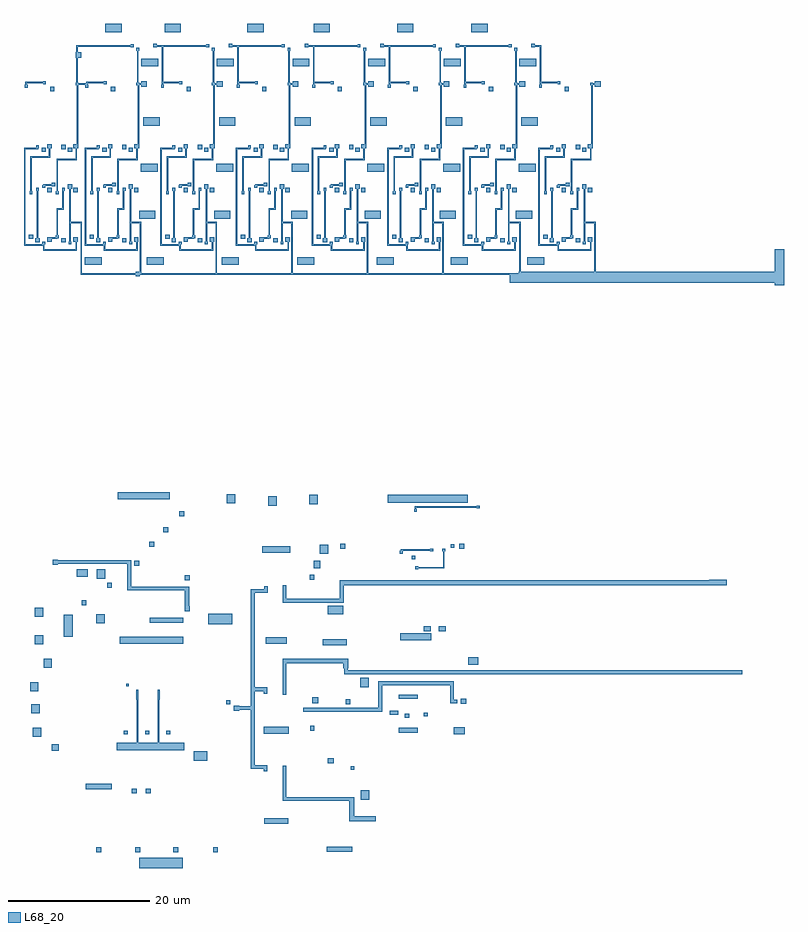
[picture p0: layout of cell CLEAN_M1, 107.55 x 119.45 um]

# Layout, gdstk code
import gdstk
lib = gdstk.Library(unit=1e-6, precision=1e-09)
def R(c, l, rs):  # rectangles x0, y0, x1, y1
    for r in rs: c.add(gdstk.rectangle(r[:2], r[2:], *l))
def A(c, l, x, y, w, h, nx, ny, dx, dy):  # array of equal rectangles
    R(c, l, [(x+i*dx, y+j*dy, x+i*dx+w, y+j*dy+h) for i in range(nx) for j in range(ny)])
def P(c, l, *ps):  # polygons
    for p in ps: c.add(gdstk.Polygon(p, *l))
L68_20 = (68, 20)

clean_m1 = lib.new_cell('CLEAN_M1')
A(clean_m1, L68_20, 48.4, 55.35, 0.55, 0.55, 3, 1, 3, 0)
A(clean_m1, L68_20, 48.15, 125, 0.6, 0.6, 7, 2, 10.7, 13.2)
A(clean_m1, L68_20, 43.55, 125.5, 0.6, 0.6, 7, 1, 10.7, 0)
A(clean_m1, L68_20, 50.75, 135, 2.4, 1.1, 6, 1, 10.7, 0)
A(clean_m1, L68_20, 51.15, 141.5, 2.3, 1.2, 6, 1, 10.7, 0)
A(clean_m1, L68_20, 46.55, 146.4, 0.6, 0.6, 7, 1, 10.7, 0)
A(clean_m1, L68_20, 50.85, 149.9, 2.4, 1.1, 6, 1, 10.7, 0)
R(clean_m1, L68_20, [(50.55,36.45,56.7,37.9), (44.5,38.7,45.2,39.4), (50,38.7,50.7,39.4), (55.4,38.7,56.1,39.4), (61,38.7,61.7,39.4), (77.1,38.75,80.7,39.45), (68.25,42.7,71.65,43.5), (81.9,46.15,83.1,47.45), (49.5,47,50.2,47.7), (51.5,47,52.2,47.7), (43,47.6,46.7,48.35), (80.5,50.35,81,50.85), (77.2,51.25,78.1,52), (58.25,51.65,60.2,52.95), (38.15,53.05,39.15,54), (35.5,55,36.7,56.3), (95.1,55.35,96.65,56.35), (68.2,55.45,71.7,56.45), (87.3,55.6,90,56.3), (74.75,55.9,75.3,56.6), (88.15,57.75,88.75,58.3), (90.85,57.9,91.4,58.45), (86,58.15,87.2,58.7), (35.25,58.35,36.45,59.65), (62.85,59.65,63.45,60.2), (79.75,59.65,80.45,60.35), (96.05,59.7,96.85,60.4), (75.05,59.8,75.9,60.65), (87.3,60.4,90,60.95), (35.1,61.45,36.3,62.75), (81.85,62.05,83.05,63.35), (48.7,62.15,49.1,62.55), (37.05,64.8,38.2,66.05), (97.1,65.2,98.5,66.3), (76.55,68,79.95,68.85), (35.8,68.1,37,69.4), (68.45,68.2,71.45,69.1), (87.51,68.7,91.86,69.65), (39.85,69.15,41.15,72.3), (90.8,69.95,91.8,70.65), (92.95,69.95,93.95,70.65), (60.35,70.95,63.75,72.45), (44.5,71.1,45.7,72.4), (52.06,71.15,56.76,71.9), (35.75,72,36.95,73.3), (77.2,72.35,79.4,73.6), (42.4,73.65,43.05,74.35), (46,76.15,46.7,76.85), (57,77.2,57.7,77.9), (74.7,77.25,75.3,77.95), (44.55,77.4,45.75,78.7), (41.7,77.7,43.25,78.7), (75.25,78.85,76.2,79.95), (49.85,79.25,50.55,79.95), (89.15,80.15,89.65,80.65), (76.1,80.9,77.3,82.2), (68,81.1,71.9,82), (79,81.65,79.7,82.35), (95.85,81.65,96.55,82.35), (94.65,81.75,95.15,82.25), (51.95,81.95,52.65,82.65), (53.95,83.95,54.65,84.65), (56.25,86.25,56.95,86.95), (68.8,87.75,70,89.05), (74.6,87.95,75.8,89.25), (62.95,88.05,64.15,89.35), (85.71,88.15,97.06,89.25), (47.51,88.65,54.91,89.6), (42.85,121.8,45.25,122.9), (51.65,121.8,54.05,122.9), (62.25,121.8,64.65,122.9), (72.95,121.8,75.35,122.9), (84.15,121.8,86.55,122.9), (94.65,121.8,97.05,122.9), (105.45,121.8,107.85,122.9), (39.55,125,40.15,125.6), (34.95,125.5,35.55,126.1), (50.55,128.3,52.85,129.5), (61.15,128.3,63.45,129.5), (72.05,128.3,74.35,129.5), (82.45,128.3,84.75,129.5), (93.05,128.3,95.35,129.5), (103.85,128.3,106.15,129.5), (37.55,132.1,38.15,132.7), (41.25,132.1,41.85,132.7), (46.15,132.1,46.75,132.7), (49.85,132.1,50.45,132.7), (56.85,132.1,57.45,132.7), (60.55,132.1,61.15,132.7), (67.55,132.1,68.15,132.7), (71.25,132.1,71.85,132.7), (78.25,132.1,78.85,132.7), (81.95,132.1,82.55,132.7), (88.95,132.1,89.55,132.7), (92.65,132.1,93.25,132.7), (99.65,132.1,100.25,132.7), (103.35,132.1,103.95,132.7), (110.35,132.1,110.95,132.7), (114.05,132.1,114.65,132.7), (36.75,137.8,37.35,138.4), (40.45,137.8,41.05,138.4), (45.35,137.8,45.95,138.4), (49.05,137.8,49.65,138.4), (56.05,137.8,56.65,138.4), (59.75,137.8,60.35,138.4), (66.75,137.8,67.35,138.4), (70.45,137.8,71.05,138.4), (77.45,137.8,78.05,138.4), (81.15,137.8,81.75,138.4), (88.15,137.8,88.75,138.4), (91.85,137.8,92.45,138.4), (98.85,137.8,99.45,138.4), (102.55,137.8,103.15,138.4), (109.55,137.8,110.15,138.4), (113.25,137.8,113.85,138.4), (39.55,138.2,40.15,138.8), (37.95,146.4,38.55,147), (45.75,154.7,48.05,155.9), (54.15,154.7,56.45,155.9), (65.85,154.7,68.15,155.9), (75.25,154.7,77.55,155.9), (87.05,154.7,89.35,155.9), (97.55,154.7,99.85,155.9)])
P(clean_m1, L68_20, [(73.75,58.55),(73.75,59.1),(84.35,59.1),(84.35,62.85),(95.1,62.85),(95.1,60.3),(95.55,60.3),(95.55,59.75),(94.6,59.75),(94.6,62.3),(84.95,62.3),(84.95,58.55)],
  [(70.85,60.95),(70.85,66.1),(80.15,66.1),(80.15,64.7),(80.1,64.7),(80.1,64.45),(135.9,64.45),(135.9,63.85),(79.55,63.85),(79.55,64.7),(79.45,64.7),(79.45,65.4),(71.35,65.4),(71.35,60.95)],
  [(70.85,74),(70.85,76.45),(71.35,76.45),(71.35,74.55),(78.9,74.55),(78.9,77.2),(131.25,77.2),(131.25,77.25),(133.7,77.25),(133.7,76.45),(79.5,76.45),(79.5,74)],
  [(87.45,80.95),(87.45,81.35),(87.55,81.35),(87.55,81.55),(91.75,81.55),(91.75,81.65),(92.15,81.65),(92.15,81.25),(91.75,81.25),(91.75,81.35),(87.85,81.35),(87.85,80.95)],
  [(140.5,118.95),(140.5,119.3),(103,119.3),(103,120.4),(50.65,120.4),(50.65,120.2),(50.05,120.2),(50.05,120.4),(42.25,120.4),(42.25,127.7),(40.85,127.7),(40.85,125.1),(40.95,125.1),(40.95,124.7),(40.55,124.7),(40.55,125.1),(40.65,125.1),(40.65,132.6),(40.45,132.6),(40.45,133.2),(41.05,133.2),(41.05,132.6),(40.85,132.6),(40.85,127.9),(42.45,127.9),(42.45,120.6),(50.05,120.6),(50.05,120.8),(50.65,120.8),(50.65,127.7),(49.45,127.7),(49.45,125.1),(49.55,125.1),(49.55,124.7),(49.15,124.7),(49.15,125.1),(49.25,125.1),(49.25,132.6),(49.05,132.6),(49.05,133.2),(49.65,133.2),(49.65,132.6),(49.45,132.6),(49.45,127.9),(50.85,127.9),(50.85,120.6),(61.35,120.6),(61.35,127.7),(60.15,127.7),(60.15,125.1),(60.25,125.1),(60.25,124.7),(59.85,124.7),(59.85,125.1),(59.95,125.1),(59.95,132.6),(59.75,132.6),(59.75,133.2),(60.35,133.2),(60.35,132.6),(60.15,132.6),(60.15,127.9),(61.55,127.9),(61.55,120.6),(72.05,120.6),(72.05,127.7),(70.85,127.7),(70.85,125.1),(70.95,125.1),(70.95,124.7),(70.55,124.7),(70.55,125.1),(70.65,125.1),(70.65,132.6),(70.45,132.6),(70.45,133.2),(71.05,133.2),(71.05,132.6),(70.85,132.6),(70.85,127.9),(72.25,127.9),(72.25,120.6),(82.75,120.6),(82.75,127.7),(81.55,127.7),(81.55,125.1),(81.65,125.1),(81.65,124.7),(81.25,124.7),(81.25,125.1),(81.35,125.1),(81.35,132.6),(81.15,132.6),(81.15,133.2),(81.75,133.2),(81.75,132.6),(81.55,132.6),(81.55,127.9),(82.95,127.9),(82.95,120.6),(93.45,120.6),(93.45,127.7),(92.25,127.7),(92.25,125.1),(92.35,125.1),(92.35,124.7),(91.95,124.7),(91.95,125.1),(92.05,125.1),(92.05,132.6),(91.85,132.6),(91.85,133.2),(92.45,133.2),(92.45,132.6),(92.25,132.6),(92.25,127.9),(93.65,127.9),(93.65,120.6),(103,120.6),(103,120.65),(104.25,120.65),(104.25,120.85),(104.35,120.85),(104.35,127.7),(102.95,127.7),(102.95,125.1),(103.05,125.1),(103.05,124.7),(102.65,124.7),(102.65,125.1),(102.75,125.1),(102.75,132.6),(102.55,132.6),(102.55,133.2),(103.15,133.2),(103.15,132.6),(102.95,132.6),(102.95,127.9),(104.55,127.9),(104.55,120.85),(114.95,120.85),(114.95,127.7),(113.65,127.7),(113.65,125.1),(113.75,125.1),(113.75,124.7),(113.35,124.7),(113.35,125.1),(113.45,125.1),(113.45,132.6),(113.25,132.6),(113.25,133.2),(113.85,133.2),(113.85,132.6),(113.65,132.6),(113.65,127.9),(115.15,127.9),(115.15,120.85),(140.5,120.85),(140.5,124),(141.8,124),(141.8,118.95)],
  [(88.35,123.8),(88.35,124.5),(85.65,124.5),(85.65,138.4),(87.35,138.4),(87.35,138.7),(87.75,138.7),(87.75,138.3),(87.65,138.3),(87.65,138.2),(85.85,138.2),(85.85,124.7),(88.25,124.7),(88.25,125.1),(88.65,125.1),(88.65,124.7),(88.55,124.7),(88.55,124),(92.95,124),(92.95,125.1),(92.65,125.1),(92.65,125.7),(93.25,125.7),(93.25,125.1),(93.15,125.1),(93.15,123.8)],
  [(86.45,131.8),(86.45,132.2),(86.55,132.2),(86.55,137.2),(89.15,137.2),(89.15,138.3),(88.95,138.3),(88.95,138.9),(89.55,138.9),(89.55,138.3),(89.35,138.3),(89.35,137),(86.75,137),(86.75,132.2),(86.85,132.2),(86.85,131.8)],
  [(85.75,146.9),(85.75,147.3),(85.85,147.3),(85.85,152.7),(85.15,152.7),(85.15,152.6),(84.65,152.6),(84.65,153.1),(85.15,153.1),(85.15,152.9),(92.15,152.9),(92.15,153),(92.55,153),(92.55,152.6),(92.15,152.6),(92.15,152.7),(86.05,152.7),(86.05,147.7),(88.35,147.7),(88.35,147.8),(88.75,147.8),(88.75,147.4),(88.35,147.4),(88.35,147.5),(86.05,147.5),(86.05,147.3),(86.15,147.3),(86.15,146.9)],
  [(88.95,125.1),(88.95,125.7),(90.15,125.7),(90.15,126),(90.25,126),(90.25,129.8),(91.05,129.8),(91.05,132.7),(91.45,132.7),(91.45,132.3),(91.25,132.3),(91.25,129.6),(90.45,129.6),(90.45,126),(90.55,126),(90.55,125.6),(90.35,125.6),(90.35,125.5),(89.55,125.5),(89.55,125.1)],
  [(97.95,125),(97.95,125.6),(98.15,125.6),(98.15,132.3),(98.05,132.3),(98.05,132.7),(98.45,132.7),(98.45,132.3),(98.35,132.3),(98.35,125.6),(98.55,125.6),(98.55,125)],
  [(99.65,125.1),(99.65,125.7),(100.85,125.7),(100.85,126),(100.95,126),(100.95,129.8),(101.75,129.8),(101.75,132.7),(102.15,132.7),(102.15,132.3),(101.95,132.3),(101.95,129.6),(101.15,129.6),(101.15,126),(101.25,126),(101.25,125.6),(101.05,125.6),(101.05,125.5),(100.25,125.5),(100.25,125.1)],
  [(108.65,125),(108.65,125.6),(108.85,125.6),(108.85,132.3),(108.75,132.3),(108.75,132.7),(109.15,132.7),(109.15,132.3),(109.05,132.3),(109.05,125.6),(109.25,125.6),(109.25,125)],
  [(110.35,125.1),(110.35,125.7),(111.55,125.7),(111.55,126),(111.65,126),(111.65,129.8),(112.45,129.8),(112.45,132.7),(112.85,132.7),(112.85,132.3),(112.65,132.3),(112.65,129.6),(111.85,129.6),(111.85,126),(111.95,126),(111.95,125.6),(111.75,125.6),(111.75,125.5),(110.95,125.5),(110.95,125.1)],
  [(88.25,132.7),(88.25,133.1),(88.35,133.1),(88.35,133.2),(89.55,133.2),(89.55,133.4),(90.05,133.4),(90.05,132.9),(89.55,132.9),(89.55,133),(88.65,133),(88.65,132.7)],
  [(98.95,132.7),(98.95,133.1),(99.05,133.1),(99.05,133.2),(100.25,133.2),(100.25,133.4),(100.75,133.4),(100.75,132.9),(100.25,132.9),(100.25,133),(99.35,133),(99.35,132.7)],
  [(109.65,132.7),(109.65,133.1),(109.75,133.1),(109.75,133.2),(110.95,133.2),(110.95,133.4),(111.45,133.4),(111.45,132.9),(110.95,132.9),(110.95,133),(110.05,133),(110.05,132.7)],
  [(99.05,123.8),(99.05,124.5),(96.35,124.5),(96.35,138.4),(98.05,138.4),(98.05,138.7),(98.45,138.7),(98.45,138.3),(98.35,138.3),(98.35,138.2),(96.55,138.2),(96.55,124.7),(98.95,124.7),(98.95,125.1),(99.35,125.1),(99.35,124.7),(99.25,124.7),(99.25,124),(103.65,124),(103.65,125.1),(103.35,125.1),(103.35,125.7),(103.95,125.7),(103.95,125.1),(103.85,125.1),(103.85,123.8)],
  [(109.75,123.8),(109.75,124.5),(107.05,124.5),(107.05,138.4),(108.75,138.4),(108.75,138.7),(109.15,138.7),(109.15,138.3),(109.05,138.3),(109.05,138.2),(107.25,138.2),(107.25,124.7),(109.65,124.7),(109.65,125.1),(110.05,125.1),(110.05,124.7),(109.95,124.7),(109.95,124),(114.35,124),(114.35,125.1),(114.05,125.1),(114.05,125.7),(114.65,125.7),(114.65,125.1),(114.55,125.1),(114.55,123.8)],
  [(97.15,131.8),(97.15,132.2),(97.25,132.2),(97.25,137.2),(99.85,137.2),(99.85,138.3),(99.65,138.3),(99.65,138.9),(100.25,138.9),(100.25,138.3),(100.05,138.3),(100.05,137),(97.45,137),(97.45,132.2),(97.55,132.2),(97.55,131.8)],
  [(107.85,131.8),(107.85,132.2),(107.95,132.2),(107.95,137.2),(110.55,137.2),(110.55,138.3),(110.35,138.3),(110.35,138.9),(110.95,138.9),(110.95,138.3),(110.75,138.3),(110.75,137),(108.15,137),(108.15,132.2),(108.25,132.2),(108.25,131.8)],
  [(111.55,131.8),(111.55,132.2),(111.65,132.2),(111.65,136.8),(114.35,136.8),(114.35,138.3),(114.05,138.3),(114.05,138.9),(114.55,138.9),(114.55,147.2),(114.35,147.2),(114.35,147.6),(114.75,147.6),(114.75,147.5),(115.05,147.5),(115.05,147.8),(115.85,147.8),(115.85,147),(115.05,147),(115.05,147.3),(114.75,147.3),(114.75,138.3),(114.55,138.3),(114.55,136.6),(111.85,136.6),(111.85,132.2),(111.95,132.2),(111.95,131.8)],
  [(90.15,131.8),(90.15,132.2),(90.25,132.2),(90.25,136.8),(92.95,136.8),(92.95,138.3),(92.65,138.3),(92.65,138.9),(93.15,138.9),(93.15,147.2),(92.95,147.2),(92.95,147.6),(93.05,147.6),(93.05,152.1),(92.95,152.1),(92.95,152.5),(93.35,152.5),(93.35,152.1),(93.25,152.1),(93.25,147.6),(93.35,147.6),(93.35,147.5),(93.65,147.5),(93.65,147.8),(94.45,147.8),(94.45,147),(93.65,147),(93.65,147.3),(93.35,147.3),(93.35,138.3),(93.15,138.3),(93.15,136.6),(90.45,136.6),(90.45,132.2),(90.55,132.2),(90.55,131.8)],
  [(100.85,131.8),(100.85,132.2),(100.95,132.2),(100.95,136.8),(103.65,136.8),(103.65,138.3),(103.35,138.3),(103.35,138.9),(103.85,138.9),(103.85,147.2),(103.65,147.2),(103.65,147.6),(103.75,147.6),(103.75,152.1),(103.65,152.1),(103.65,152.5),(104.05,152.5),(104.05,152.1),(103.95,152.1),(103.95,147.6),(104.05,147.6),(104.05,147.5),(104.35,147.5),(104.35,147.8),(105.15,147.8),(105.15,147),(104.35,147),(104.35,147.3),(104.05,147.3),(104.05,138.3),(103.85,138.3),(103.85,136.6),(101.15,136.6),(101.15,132.2),(101.25,132.2),(101.25,131.8)],
  [(96.45,146.9),(96.45,147.3),(96.55,147.3),(96.55,152.7),(95.85,152.7),(95.85,152.6),(95.35,152.6),(95.35,153.1),(95.85,153.1),(95.85,152.9),(102.85,152.9),(102.85,153),(103.25,153),(103.25,152.6),(102.85,152.6),(102.85,152.7),(96.75,152.7),(96.75,147.7),(99.05,147.7),(99.05,147.8),(99.45,147.8),(99.45,147.4),(99.05,147.4),(99.05,147.5),(96.75,147.5),(96.75,147.3),(96.85,147.3),(96.85,146.9)],
  [(107.15,146.9),(107.15,147.3),(107.25,147.3),(107.25,152.7),(106.55,152.7),(106.55,152.6),(106.05,152.6),(106.05,153.1),(106.55,153.1),(106.55,152.9),(107.45,152.9),(107.45,147.7),(109.75,147.7),(109.75,147.8),(110.15,147.8),(110.15,147.4),(109.75,147.4),(109.75,147.5),(107.45,147.5),(107.45,147.3),(107.55,147.3),(107.55,146.9)],
  [(35.85,125),(35.85,125.6),(36.05,125.6),(36.05,132.3),(35.95,132.3),(35.95,132.7),(36.35,132.7),(36.35,132.3),(36.25,132.3),(36.25,125.6),(36.45,125.6),(36.45,125)],
  [(37.55,125.1),(37.55,125.7),(38.75,125.7),(38.75,126),(38.85,126),(38.85,129.8),(39.65,129.8),(39.65,132.7),(40.05,132.7),(40.05,132.3),(39.85,132.3),(39.85,129.6),(39.05,129.6),(39.05,126),(39.15,126),(39.15,125.6),(38.95,125.6),(38.95,125.5),(38.15,125.5),(38.15,125.1)],
  [(36.95,123.8),(36.95,124.5),(34.25,124.5),(34.25,138.4),(35.95,138.4),(35.95,138.7),(36.35,138.7),(36.35,138.3),(36.25,138.3),(36.25,138.2),(34.45,138.2),(34.45,124.7),(36.85,124.7),(36.85,125.1),(37.25,125.1),(37.25,124.7),(37.15,124.7),(37.15,124),(41.55,124),(41.55,125.1),(41.25,125.1),(41.25,125.7),(41.85,125.7),(41.85,125.1),(41.75,125.1),(41.75,123.8)],
  [(45.55,123.8),(45.55,124.5),(42.85,124.5),(42.85,138.4),(44.55,138.4),(44.55,138.7),(44.95,138.7),(44.95,138.3),(44.85,138.3),(44.85,138.2),(43.05,138.2),(43.05,124.7),(45.45,124.7),(45.45,125.1),(45.85,125.1),(45.85,124.7),(45.75,124.7),(45.75,124),(50.15,124),(50.15,125.1),(49.85,125.1),(49.85,125.7),(50.45,125.7),(50.45,125.1),(50.35,125.1),(50.35,123.8)],
  [(56.25,123.8),(56.25,124.5),(53.55,124.5),(53.55,138.4),(55.25,138.4),(55.25,138.7),(55.65,138.7),(55.65,138.3),(55.55,138.3),(55.55,138.2),(53.75,138.2),(53.75,124.7),(56.15,124.7),(56.15,125.1),(56.55,125.1),(56.55,124.7),(56.45,124.7),(56.45,124),(60.85,124),(60.85,125.1),(60.55,125.1),(60.55,125.7),(61.15,125.7),(61.15,125.1),(61.05,125.1),(61.05,123.8)],
  [(66.95,123.8),(66.95,124.5),(64.25,124.5),(64.25,138.4),(65.95,138.4),(65.95,138.7),(66.35,138.7),(66.35,138.3),(66.25,138.3),(66.25,138.2),(64.45,138.2),(64.45,124.7),(66.85,124.7),(66.85,125.1),(67.25,125.1),(67.25,124.7),(67.15,124.7),(67.15,124),(71.55,124),(71.55,125.1),(71.25,125.1),(71.25,125.7),(71.85,125.7),(71.85,125.1),(71.75,125.1),(71.75,123.8)],
  [(77.65,123.8),(77.65,124.5),(74.95,124.5),(74.95,138.4),(76.65,138.4),(76.65,138.7),(77.05,138.7),(77.05,138.3),(76.95,138.3),(76.95,138.2),(75.15,138.2),(75.15,124.7),(77.55,124.7),(77.55,125.1),(77.95,125.1),(77.95,124.7),(77.85,124.7),(77.85,124),(82.25,124),(82.25,125.1),(81.95,125.1),(81.95,125.7),(82.55,125.7),(82.55,125.1),(82.45,125.1),(82.45,123.8)],
  [(44.45,125),(44.45,125.6),(44.65,125.6),(44.65,132.3),(44.55,132.3),(44.55,132.7),(44.95,132.7),(44.95,132.3),(44.85,132.3),(44.85,125.6),(45.05,125.6),(45.05,125)],
  [(46.15,125.1),(46.15,125.7),(47.35,125.7),(47.35,126),(47.45,126),(47.45,129.8),(48.25,129.8),(48.25,132.7),(48.65,132.7),(48.65,132.3),(48.45,132.3),(48.45,129.6),(47.65,129.6),(47.65,126),(47.75,126),(47.75,125.6),(47.55,125.6),(47.55,125.5),(46.75,125.5),(46.75,125.1)],
  [(55.15,125),(55.15,125.6),(55.35,125.6),(55.35,132.3),(55.25,132.3),(55.25,132.7),(55.65,132.7),(55.65,132.3),(55.55,132.3),(55.55,125.6),(55.75,125.6),(55.75,125)],
  [(56.85,125.1),(56.85,125.7),(58.05,125.7),(58.05,126),(58.15,126),(58.15,129.8),(58.95,129.8),(58.95,132.7),(59.35,132.7),(59.35,132.3),(59.15,132.3),(59.15,129.6),(58.35,129.6),(58.35,126),(58.45,126),(58.45,125.6),(58.25,125.6),(58.25,125.5),(57.45,125.5),(57.45,125.1)],
  [(65.85,125),(65.85,125.6),(66.05,125.6),(66.05,132.3),(65.95,132.3),(65.95,132.7),(66.35,132.7),(66.35,132.3),(66.25,132.3),(66.25,125.6),(66.45,125.6),(66.45,125)],
  [(67.55,125.1),(67.55,125.7),(68.75,125.7),(68.75,126),(68.85,126),(68.85,129.8),(69.65,129.8),(69.65,132.7),(70.05,132.7),(70.05,132.3),(69.85,132.3),(69.85,129.6),(69.05,129.6),(69.05,126),(69.15,126),(69.15,125.6),(68.95,125.6),(68.95,125.5),(68.15,125.5),(68.15,125.1)],
  [(76.55,125),(76.55,125.6),(76.75,125.6),(76.75,132.3),(76.65,132.3),(76.65,132.7),(77.05,132.7),(77.05,132.3),(76.95,132.3),(76.95,125.6),(77.15,125.6),(77.15,125)],
  [(78.25,125.1),(78.25,125.7),(79.45,125.7),(79.45,126),(79.55,126),(79.55,129.8),(80.35,129.8),(80.35,132.7),(80.75,132.7),(80.75,132.3),(80.55,132.3),(80.55,129.6),(79.75,129.6),(79.75,126),(79.85,126),(79.85,125.6),(79.65,125.6),(79.65,125.5),(78.85,125.5),(78.85,125.1)],
  [(58.05,131.8),(58.05,132.2),(58.15,132.2),(58.15,136.8),(60.85,136.8),(60.85,138.3),(60.55,138.3),(60.55,138.9),(61.05,138.9),(61.05,147.2),(60.85,147.2),(60.85,147.6),(60.95,147.6),(60.95,152.1),(60.85,152.1),(60.85,152.5),(61.25,152.5),(61.25,152.1),(61.15,152.1),(61.15,147.6),(61.25,147.6),(61.25,147.5),(61.55,147.5),(61.55,147.8),(62.35,147.8),(62.35,147),(61.55,147),(61.55,147.3),(61.25,147.3),(61.25,138.3),(61.05,138.3),(61.05,136.6),(58.35,136.6),(58.35,132.2),(58.45,132.2),(58.45,131.8)],
  [(87.25,125),(87.25,125.6),(87.45,125.6),(87.45,132.3),(87.35,132.3),(87.35,132.7),(87.75,132.7),(87.75,132.3),(87.65,132.3),(87.65,125.6),(87.85,125.6),(87.85,125)],
  [(65.05,131.8),(65.05,132.2),(65.15,132.2),(65.15,137.2),(67.75,137.2),(67.75,138.3),(67.55,138.3),(67.55,138.9),(68.15,138.9),(68.15,138.3),(67.95,138.3),(67.95,137),(65.35,137),(65.35,132.2),(65.45,132.2),(65.45,131.8)],
  [(75.75,131.8),(75.75,132.2),(75.85,132.2),(75.85,137.2),(78.45,137.2),(78.45,138.3),(78.25,138.3),(78.25,138.9),(78.85,138.9),(78.85,138.3),(78.65,138.3),(78.65,137),(76.05,137),(76.05,132.2),(76.15,132.2),(76.15,131.8)],
  [(66.85,132.7),(66.85,133.1),(66.95,133.1),(66.95,133.2),(68.15,133.2),(68.15,133.4),(68.65,133.4),(68.65,132.9),(68.15,132.9),(68.15,133),(67.25,133),(67.25,132.7)],
  [(77.55,132.7),(77.55,133.1),(77.65,133.1),(77.65,133.2),(78.85,133.2),(78.85,133.4),(79.35,133.4),(79.35,132.9),(78.85,132.9),(78.85,133),(77.95,133),(77.95,132.7)],
  [(68.75,131.8),(68.75,132.2),(68.85,132.2),(68.85,136.8),(71.55,136.8),(71.55,138.3),(71.25,138.3),(71.25,138.9),(71.75,138.9),(71.75,147.2),(71.55,147.2),(71.55,147.6),(71.65,147.6),(71.65,152.1),(71.55,152.1),(71.55,152.5),(71.95,152.5),(71.95,152.1),(71.85,152.1),(71.85,147.6),(71.95,147.6),(71.95,147.5),(72.25,147.5),(72.25,147.8),(73.05,147.8),(73.05,147),(72.25,147),(72.25,147.3),(71.95,147.3),(71.95,138.3),(71.75,138.3),(71.75,136.6),(69.05,136.6),(69.05,132.2),(69.15,132.2),(69.15,131.8)],
  [(79.45,131.8),(79.45,132.2),(79.55,132.2),(79.55,136.8),(82.25,136.8),(82.25,138.3),(81.95,138.3),(81.95,138.9),(82.45,138.9),(82.45,147.2),(82.25,147.2),(82.25,147.6),(82.35,147.6),(82.35,152.1),(82.25,152.1),(82.25,152.5),(82.65,152.5),(82.65,152.1),(82.55,152.1),(82.55,147.6),(82.65,147.6),(82.65,147.5),(82.95,147.5),(82.95,147.8),(83.75,147.8),(83.75,147),(82.95,147),(82.95,147.3),(82.65,147.3),(82.65,138.3),(82.45,138.3),(82.45,136.6),(79.75,136.6),(79.75,132.2),(79.85,132.2),(79.85,131.8)],
  [(64.35,146.9),(64.35,147.3),(64.45,147.3),(64.45,152.7),(63.75,152.7),(63.75,152.6),(63.25,152.6),(63.25,153.1),(63.75,153.1),(63.75,152.9),(70.75,152.9),(70.75,153),(71.15,153),(71.15,152.6),(70.75,152.6),(70.75,152.7),(64.65,152.7),(64.65,147.7),(66.95,147.7),(66.95,147.8),(67.35,147.8),(67.35,147.4),(66.95,147.4),(66.95,147.5),(64.65,147.5),(64.65,147.3),(64.75,147.3),(64.75,146.9)],
  [(75.05,146.9),(75.05,147.3),(75.15,147.3),(75.15,152.7),(74.45,152.7),(74.45,152.6),(73.95,152.6),(73.95,153.1),(74.45,153.1),(74.45,152.9),(81.45,152.9),(81.45,153),(81.85,153),(81.85,152.6),(81.45,152.6),(81.45,152.7),(75.35,152.7),(75.35,147.7),(77.65,147.7),(77.65,147.8),(78.05,147.8),(78.05,147.4),(77.65,147.4),(77.65,147.5),(75.35,147.5),(75.35,147.3),(75.45,147.3),(75.45,146.9)],
  [(56.15,132.7),(56.15,133.1),(56.25,133.1),(56.25,133.2),(57.45,133.2),(57.45,133.4),(57.95,133.4),(57.95,132.9),(57.45,132.9),(57.45,133),(56.55,133),(56.55,132.7)],
  [(36.85,132.7),(36.85,133.1),(36.95,133.1),(36.95,133.2),(38.15,133.2),(38.15,133.4),(38.65,133.4),(38.65,132.9),(38.15,132.9),(38.15,133),(37.25,133),(37.25,132.7)],
  [(45.45,132.7),(45.45,133.1),(45.55,133.1),(45.55,133.2),(46.75,133.2),(46.75,133.4),(47.25,133.4),(47.25,132.9),(46.75,132.9),(46.75,133),(45.85,133),(45.85,132.7)],
  [(34.35,146.9),(34.35,147.3),(34.45,147.3),(34.45,147.7),(36.95,147.7),(36.95,147.8),(37.35,147.8),(37.35,147.4),(36.95,147.4),(36.95,147.5),(34.65,147.5),(34.65,147.3),(34.75,147.3),(34.75,146.9)],
  [(35.05,131.8),(35.05,132.2),(35.15,132.2),(35.15,137.2),(37.75,137.2),(37.75,138.3),(37.55,138.3),(37.55,138.9),(38.15,138.9),(38.15,138.3),(37.95,138.3),(37.95,137),(35.35,137),(35.35,132.2),(35.45,132.2),(35.45,131.8)],
  [(43.65,131.8),(43.65,132.2),(43.75,132.2),(43.75,137.2),(46.35,137.2),(46.35,138.3),(46.15,138.3),(46.15,138.9),(46.75,138.9),(46.75,138.3),(46.55,138.3),(46.55,137),(43.95,137),(43.95,132.2),(44.05,132.2),(44.05,131.8)],
  [(47.35,131.8),(47.35,132.2),(47.45,132.2),(47.45,136.8),(50.15,136.8),(50.15,138.3),(49.85,138.3),(49.85,138.9),(50.35,138.9),(50.35,147.2),(50.15,147.2),(50.15,147.6),(50.25,147.6),(50.25,152.1),(50.15,152.1),(50.15,152.5),(50.55,152.5),(50.55,152.1),(50.45,152.1),(50.45,147.6),(50.55,147.6),(50.55,147.5),(50.85,147.5),(50.85,147.8),(51.65,147.8),(51.65,147),(50.85,147),(50.85,147.3),(50.55,147.3),(50.55,138.3),(50.35,138.3),(50.35,136.6),(47.65,136.6),(47.65,132.2),(47.75,132.2),(47.75,131.8)],
  [(54.35,131.8),(54.35,132.2),(54.45,132.2),(54.45,137.2),(57.05,137.2),(57.05,138.3),(56.85,138.3),(56.85,138.9),(57.45,138.9),(57.45,138.3),(57.25,138.3),(57.25,137),(54.65,137),(54.65,132.2),(54.75,132.2),(54.75,131.8)],
  [(38.75,131.8),(38.75,132.2),(38.85,132.2),(38.85,136.8),(41.55,136.8),(41.55,138.3),(41.25,138.3),(41.25,138.9),(41.75,138.9),(41.75,147.2),(41.55,147.2),(41.55,147.6),(41.65,147.6),(41.65,151.1),(41.55,151.1),(41.55,151.9),(41.65,151.9),(41.65,152.9),(49.35,152.9),(49.35,153),(49.75,153),(49.75,152.6),(49.35,152.6),(49.35,152.7),(41.85,152.7),(41.85,151.9),(42.35,151.9),(42.35,151.1),(41.85,151.1),(41.85,147.6),(41.95,147.6),(41.95,147.5),(43.05,147.5),(43.05,147.7),(45.55,147.7),(45.55,147.8),(45.95,147.8),(45.95,147.4),(45.55,147.4),(45.55,147.5),(43.25,147.5),(43.25,147.3),(43.35,147.3),(43.35,146.9),(42.95,146.9),(42.95,147.3),(41.95,147.3),(41.95,138.3),(41.75,138.3),(41.75,136.6),(39.05,136.6),(39.05,132.2),(39.15,132.2),(39.15,131.8)],
  [(53.65,146.9),(53.65,147.3),(53.75,147.3),(53.75,152.7),(53.05,152.7),(53.05,152.6),(52.55,152.6),(52.55,153.1),(53.05,153.1),(53.05,152.9),(60.05,152.9),(60.05,153),(60.45,153),(60.45,152.6),(60.05,152.6),(60.05,152.7),(53.95,152.7),(53.95,147.7),(56.25,147.7),(56.25,147.8),(56.65,147.8),(56.65,147.4),(56.25,147.4),(56.25,147.5),(53.95,147.5),(53.95,147.3),(54.05,147.3),(54.05,146.9)],
  [(68.15,50.15),(68.15,50.5),(66.35,50.5),(66.35,58.85),(64.7,58.85),(64.7,58.7),(63.9,58.7),(63.9,59.45),(64.7,59.45),(64.7,59.35),(66.35,59.35),(66.35,75.9),(68.25,75.9),(68.25,76.35),(68.75,76.35),(68.75,75.4),(66.9,75.4),(66.9,62),(68.65,62),(68.65,61.15),(68.15,61.15),(68.15,61.5),(66.9,61.5),(66.9,51),(68.65,51),(68.65,50.15)],
  [(57,72.8),(57,75.75),(48.85,75.75),(48.85,79.5),(39,79.5),(39,79.4),(38.3,79.4),(38.3,80.1),(39,80.1),(39,80),(49.4,80),(49.4,76.25),(57.6,76.25),(57.6,73.5),(57.7,73.5),(57.7,72.8)],
  [(80.25,43.05),(80.25,46),(70.85,46),(70.85,50.95),(71.35,50.95),(71.35,46.5),(80.95,46.5),(80.95,43.75),(84,43.75),(84,43.05)],
  [(47.4,53.15),(47.4,54.15),(50.2,54.15),(50.2,60.3),(50.15,60.3),(50.15,61.7),(50.45,61.7),(50.45,60.3),(50.4,60.3),(50.4,54.15),(53.2,54.15),(53.2,60.3),(53.15,60.3),(53.15,61.7),(53.45,61.7),(53.45,60.3),(53.4,60.3),(53.4,54.15),(56.95,54.15),(56.95,53.15)],
  [(47.81,68.2),(47.81,68.25),(47.8,68.25),(47.8,69.05),(47.81,69.05),(47.81,69.2),(56.81,69.2),(56.81,68.2)],
  [(89.45,86.85),(89.45,87.25),(89.55,87.25),(89.55,87.65),(98.35,87.65),(98.35,87.75),(98.75,87.75),(98.75,87.35),(98.35,87.35),(98.35,87.45),(89.75,87.45),(89.75,87.25),(89.85,87.25),(89.85,86.85)],
  [(89.65,78.75),(89.65,79.15),(90.05,79.15),(90.05,79.05),(93.55,79.05),(93.55,81.25),(93.45,81.25),(93.45,81.65),(93.85,81.65),(93.85,81.25),(93.75,81.25),(93.75,78.85),(90.05,78.85),(90.05,78.75)])

lib.write_gds('CLEAN_M1.gds')
